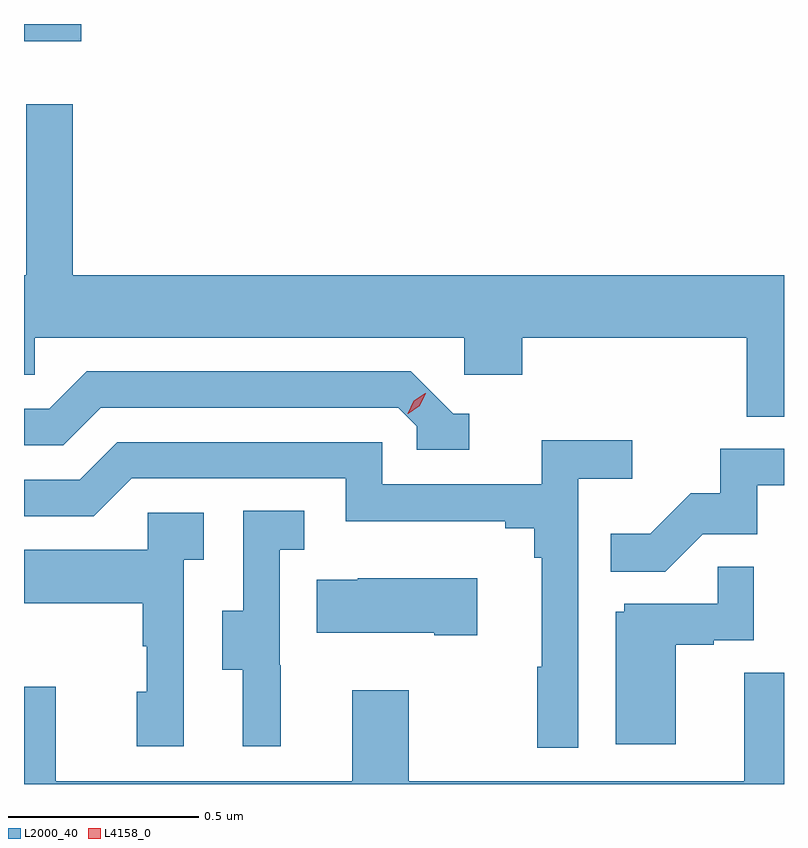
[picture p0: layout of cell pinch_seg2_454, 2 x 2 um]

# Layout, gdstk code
import gdstk
lib = gdstk.Library(unit=1e-6, precision=1e-09)
def R(c, l, rs):  # rectangles x0, y0, x1, y1
    for r in rs: c.add(gdstk.rectangle(r[:2], r[2:], *l))
def P(c, l, *ps):  # polygons
    for p in ps: c.add(gdstk.Polygon(p, *l))
L2000_40 = (2000, 40)
L4158_0 = (4158, 0)

pinch_seg2_454 = lib.new_cell('pinch_seg2_454')
R(pinch_seg2_454, L2000_40, [(903.713,611.12,903.864,611.165)])
P(pinch_seg2_454, L2000_40, [(905.713,610.504),(903.841,610.504),(903.841,610.954),(903.719,610.954),(903.719,610.504),(903.713,610.504),(903.713,610.242),(903.741,610.242),(903.741,610.34),(904.872,610.34),(904.872,610.242),(905.024,610.242),(905.024,610.34),(905.615,610.34),(905.615,610.132),(905.713,610.132)],
  [(904.885,610.14),(904.842,610.14),(904.731,610.251),(903.878,610.251),(903.779,610.152),(903.713,610.152),(903.713,610.056),(903.816,610.056),(903.915,610.155),(904.698,610.155),(904.746,610.107),(904.746,610.044),(904.885,610.044)],
  [(905.172,609.968),(905.314,609.968),(905.314,610.07),(905.075,610.07),(905.075,609.954),(904.656,609.954),(904.656,610.065),(903.959,610.065),(903.86,609.966),(903.713,609.966),(903.713,609.87),(903.897,609.87),(903.996,609.969),(904.56,609.969),(904.56,609.857),(904.979,609.857),(904.979,609.838),(905.056,609.838),(905.056,609.761),(905.075,609.761),(905.075,609.473),(905.064,609.473),(905.064,609.261),(905.172,609.261)],
  [(905.499,609.822),(905.643,609.822),(905.643,609.951),(905.713,609.951),(905.713,610.047),(905.545,610.047),(905.545,609.93),(905.468,609.93),(905.361,609.823),(905.257,609.823),(905.257,609.724),(905.401,609.724)],
  [(904.388,609.477),(904.386,609.477),(904.386,609.781),(904.45,609.781),(904.45,609.884),(904.29,609.884),(904.29,609.621),(904.235,609.621),(904.235,609.466),(904.289,609.466),(904.289,609.264),(904.388,609.264)],
  [(904.134,609.755),(904.186,609.755),(904.186,609.879),(904.038,609.879),(904.038,609.781),(903.713,609.781),(903.713,609.641),(904.026,609.641),(904.026,609.527),(904.036,609.527),(904.036,609.408),(904.01,609.408),(904.01,609.264),(904.134,609.264)],
  [(905.428,609.531),(905.528,609.531),(905.528,609.543),(905.634,609.543),(905.634,609.737),(905.539,609.737),(905.539,609.639),(905.292,609.639),(905.292,609.618),(905.27,609.618),(905.27,609.27),(905.428,609.27)],
  [(904.906,609.706),(904.591,609.706),(904.591,609.703),(904.483,609.703),(904.483,609.563),(904.793,609.563),(904.793,609.556),(904.906,609.556)],
  [(905.713,609.458),(905.609,609.458),(905.609,609.172),(904.725,609.172),(904.725,609.412),(904.577,609.412),(904.577,609.172),(903.797,609.172),(903.797,609.421),(903.713,609.421),(903.713,609.165),(905.713,609.165)])
P(pinch_seg2_454, L4158_0, [(904.723,610.14),(904.723,610.14),(904.739,610.173),(904.769,610.193),(904.77,610.193),(904.77,610.192),(904.754,610.16),(904.724,610.14)])

lib.write_gds('pinch_seg2_454.gds')
